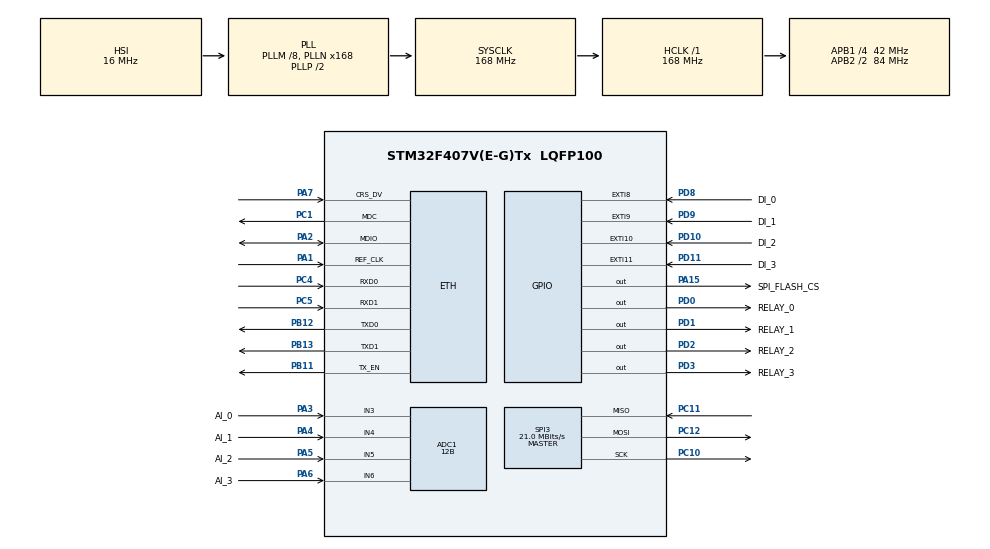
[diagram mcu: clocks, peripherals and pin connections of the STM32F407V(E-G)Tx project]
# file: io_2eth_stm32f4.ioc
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ADC1.Channel-0\#ChannelRegularConversion=ADC_CHANNEL_3
ADC1.Channel-1\#ChannelRegularConversion=ADC_CHANNEL_4
ADC1.Channel-2\#ChannelRegularConversion=ADC_CHANNEL_5
ADC1.Channel-3\#ChannelRegularConversion=ADC_CHANNEL_6
ADC1.ClockPrescaler=ADC_CLOCK_SYNC_PCLK_DIV4
ADC1.ContinuousConvMode=DISABLE
ADC1.DMAContinuousRequests=ENABLE
ADC1.DataAlign=ADC_DATAALIGN_RIGHT
ADC1.DiscontinuousConvMode=DISABLE
ADC1.EOCSelection=ADC_EOC_SINGLE_CONV
ADC1.EnableAnalogWatchDog=false
ADC1.ExternalTrigConv=ADC_SOFTWARE_START
ADC1.ExternalTrigConvEdge=ADC_EXTERNALTRIGCONVEDGE_NONE
ADC1.InjNumberOfConversion=0
ADC1.NbrOfConversion=4
ADC1.NbrOfConversionFlag=1
ADC1.Rank-0\#ChannelRegularConversion=1
ADC1.Rank-1\#ChannelRegularConversion=2
ADC1.Rank-2\#ChannelRegularConversion=3
ADC1.Rank-3\#ChannelRegularConversion=4
ADC1.Resolution=ADC_RESOLUTION_12B
ADC1.SamplingTime-0\#ChannelRegularConversion=ADC_SAMPLETIME_3CYCLES
ADC1.SamplingTime-1\#ChannelRegularConversion=ADC_SAMPLETIME_3CYCLES
ADC1.SamplingTime-2\#ChannelRegularConversion=ADC_SAMPLETIME_3CYCLES
ADC1.SamplingTime-3\#ChannelRegularConversion=ADC_SAMPLETIME_3CYCLES
ADC1.ScanConvMode=ENABLE
ADC1.master=1
Dma.ADC1.2.Direction=DMA_PERIPH_TO_MEMORY
Dma.ADC1.2.FIFOMode=DMA_FIFOMODE_DISABLE
Dma.ADC1.2.Instance=DMA2_Stream0
Dma.ADC1.2.MemDataAlignment=DMA_MDATAALIGN_HALFWORD
Dma.ADC1.2.MemInc=DMA_MINC_ENABLE
Dma.ADC1.2.Mode=DMA_NORMAL
Dma.ADC1.2.PeriphDataAlignment=DMA_PDATAALIGN_HALFWORD
Dma.ADC1.2.PeriphInc=DMA_PINC_DISABLE
Dma.ADC1.2.Priority=DMA_PRIORITY_MEDIUM
Dma.Request0=SPI3_RX
Dma.Request1=SPI3_TX
Dma.Request2=ADC1
Dma.SPI3_RX.0.Direction=DMA_PERIPH_TO_MEMORY
Dma.SPI3_RX.0.FIFOMode=DMA_FIFOMODE_DISABLE
Dma.SPI3_RX.0.Instance=DMA1_Stream0
Dma.SPI3_RX.0.MemDataAlignment=DMA_MDATAALIGN_BYTE
Dma.SPI3_RX.0.MemInc=DMA_MINC_ENABLE
Dma.SPI3_RX.0.Mode=DMA_NORMAL
Dma.SPI3_RX.0.PeriphDataAlignment=DMA_PDATAALIGN_BYTE
Dma.SPI3_RX.0.PeriphInc=DMA_PINC_DISABLE
Dma.SPI3_RX.0.Priority=DMA_PRIORITY_LOW
Dma.SPI3_TX.1.Direction=DMA_MEMORY_TO_PERIPH
Dma.SPI3_TX.1.FIFOMode=DMA_FIFOMODE_DISABLE
Dma.SPI3_TX.1.Instance=DMA1_Stream5
Dma.SPI3_TX.1.MemDataAlignment=DMA_MDATAALIGN_BYTE
Dma.SPI3_TX.1.MemInc=DMA_MINC_ENABLE
Dma.SPI3_TX.1.Mode=DMA_NORMAL
Dma.SPI3_TX.1.PeriphDataAlignment=DMA_PDATAALIGN_BYTE
Dma.SPI3_TX.1.PeriphInc=DMA_PINC_DISABLE
Dma.SPI3_TX.1.Priority=DMA_PRIORITY_LOW
ETH.MACAddr=02\:80\:E1\:83\:05\:24
ETH.MediaInterface=ETH_MEDIA_INTERFACE_RMII
ETH.PhyAddress=3
FREERTOS.HEAP_NUMBER=4
FREERTOS.INCLUDE_xEventGroupSetBitFromISR=1
FREERTOS.INCLUDE_xTimerPendFunctionCall=1
FREERTOS.Mutexes01=AI_DataAccess,Dynamic,NULL;DI_DataAccess,Dynamic,NULL;SpiffsMutex,Dynamic,NULL;SpiFlashChipMutex,Dynamic,NULL;WebServerFileMutex,Dynamic,NULL
FREERTOS.Tasks01=defaultTask,0,512,StartDefaultTask,Default,NULL,Dynamic,NULL,NULL;modbus_tcp,-3,256,start_modbus_tcp_server,As external,NULL,Dynamic,NULL,NULL;ai_monitor,-3,512,start_ai_monitor,As external,NULL,Dynamic,NULL,NULL;di_monitor,-3,512,start_di_monitor,As external,NULL,Dynamic,NULL,NULL;webserver,-3,256,start_webserver,As external,NULL,Dynamic,NULL,NULL
FREERTOS.Timers01=GARP_Timer,send_GARP,osTimerPeriodic,Default,NULL,Dynamic,NULL
FREERTOS.configMINIMAL_STACK_SIZE=256
FREERTOS.configTOTAL_HEAP_SIZE=49152
FREERTOS.configUSE_TIMERS=1
LWIP.API_LIB_DEBUG=LWIP_DBG_OFF
LWIP.API_MSG_DEBUG=LWIP_DBG_OFF
LWIP.DHCP_DEBUG=LWIP_DBG_OFF
LWIP.ETHARP_DEBUG=LWIP_DBG_OFF
LWIP.HTTPD_DEBUG=LWIP_DBG_ON
LWIP.ICMP_DEBUG=LWIP_DBG_OFF
LWIP.IP_DEBUG=LWIP_DBG_OFF
LWIP.LWIP_AUTOIP=0
LWIP.LWIP_DBG_TYPES_ON=LWIP_DBG_ON
LWIP.LWIP_DHCP_AUTOIP_COOP=0
LWIP.LWIP_HTTPD=1
LWIP.LWIP_HTTPD_CUSTOM_FILES=1
LWIP.LWIP_IGMP=1
LWIP.LWIP_MULTICAST_TX_OPTIONS=1
LWIP.LWIP_NETIF_API=0
LWIP.LWIP_NETIF_HOSTNAME=0
LWIP.LWIP_TFTP=1
LWIP.LWIP_USE_EXTERNAL_MBEDTLS=0
LWIP.NETIF_DEBUG=LWIP_DBG_OFF
LWIP.PBUF_DEBUG=LWIP_DBG_OFF
LWIP.SOCKETS_DEBUG=LWIP_DBG_OFF
LWIP.SYS_DEBUG=LWIP_DBG_OFF
LWIP.TCPIP_DEBUG=LWIP_DBG_ON
LWIP.TCP_DEBUG=LWIP_DBG_OFF
LWIP.TFTP_DEBUG=LWIP_DBG_ON
LWIP.Version=v2.0.3_Cube
Mcu.Family=STM32F4
Mcu.Name=STM32F407V(E-G)Tx
Mcu.Package=LQFP100
NVIC.DMA1_Stream0_IRQn=true\:5\:0\:false\:false\:true\:true\:false
NVIC.DMA1_Stream5_IRQn=true\:5\:0\:false\:false\:true\:true\:false
NVIC.DMA2_Stream0_IRQn=true\:5\:0\:false\:false\:true\:true\:false
NVIC.ETH_IRQn=true\:5\:0\:false\:false\:true\:true\:false
NVIC.EXTI15_10_IRQn=true\:12\:0\:true\:false\:true\:true\:true
NVIC.EXTI9_5_IRQn=true\:12\:0\:true\:false\:true\:true\:true
NVIC.PriorityGroup=NVIC_PRIORITYGROUP_4
NVIC.TIM1_UP_TIM10_IRQn=true\:0\:0\:false\:false\:true\:false\:false
NVIC.TimeBase=TIM1_UP_TIM10_IRQn
NVIC.TimeBaseIP=TIM1
PA1.Mode=RMII
PA1.Signal=ETH_REF_CLK
PA13.Mode=Trace_Asynchronous_SW
PA13.Signal=SYS_JTMS-SWDIO
PA14.Mode=Trace_Asynchronous_SW
PA14.Signal=SYS_JTCK-SWCLK
PA15.GPIO_Label=SPI_FLASH_CS
PA15.Signal=GPIO_Output
PA2.Mode=RMII
PA2.Signal=ETH_MDIO
PA3.GPIO_Label=AI_0
PA3.Signal=ADCx_IN3
PA4.GPIO_Label=AI_1
PA4.Signal=ADCx_IN4
PA5.GPIO_Label=AI_2
PA5.Signal=ADCx_IN5
PA6.GPIO_Label=AI_3
PA6.Signal=ADCx_IN6
PA7.Mode=RMII
PA7.Signal=ETH_CRS_DV
PB11.Mode=RMII
PB11.Signal=ETH_TX_EN
PB12.Mode=RMII
PB12.Signal=ETH_TXD0
PB13.Mode=RMII
PB13.Signal=ETH_TXD1
PB3.Mode=Trace_Asynchronous_SW
PB3.Signal=SYS_JTDO-SWO
PC1.Mode=RMII
PC1.Signal=ETH_MDC
PC10.Mode=Full_Duplex_Master
PC10.Signal=SPI3_SCK
PC11.Mode=Full_Duplex_Master
PC11.Signal=SPI3_MISO
PC12.Mode=Full_Duplex_Master
PC12.Signal=SPI3_MOSI
PC4.Mode=RMII
PC4.Signal=ETH_RXD0
PC5.Mode=RMII
PC5.Signal=ETH_RXD1
PD0.GPIO_Label=RELAY_0
PD0.GPIO_PuPd=GPIO_PULLDOWN
PD0.Signal=GPIO_Output
PD1.GPIO_Label=RELAY_1
PD1.GPIO_PuPd=GPIO_PULLDOWN
PD1.Signal=GPIO_Output
PD10.GPIO_Label=DI_2
PD10.GPIO_ModeDefaultEXTI=GPIO_MODE_IT_RISING_FALLING
PD10.Signal=GPXTI10
PD11.GPIO_Label=DI_3
PD11.GPIO_ModeDefaultEXTI=GPIO_MODE_IT_RISING_FALLING
PD11.Signal=GPXTI11
PD2.GPIO_Label=RELAY_2
PD2.GPIO_PuPd=GPIO_PULLDOWN
PD2.Signal=GPIO_Output
PD3.GPIO_Label=RELAY_3
PD3.GPIO_PuPd=GPIO_PULLDOWN
PD3.Signal=GPIO_Output
PD8.GPIO_Label=DI_0
PD8.GPIO_ModeDefaultEXTI=GPIO_MODE_IT_RISING_FALLING
PD8.Signal=GPXTI8
PD9.GPIO_Label=DI_1
PD9.GPIO_ModeDefaultEXTI=GPIO_MODE_IT_RISING_FALLING
PD9.Signal=GPXTI9
ProjectManager.HeapSize=0x4000
ProjectManager.StackSize=0x6000
ProjectManager.TargetToolchain=MDK-ARM V5
RCC.48MHZClocksFreq_Value=48000000
RCC.AHBFreq_Value=168000000
RCC.APB1CLKDivider=RCC_HCLK_DIV4
RCC.APB1Freq_Value=42000000
RCC.APB1TimFreq_Value=84000000
RCC.APB2CLKDivider=RCC_HCLK_DIV2
RCC.APB2Freq_Value=84000000
RCC.APB2TimFreq_Value=168000000
RCC.CortexFreq_Value=168000000
RCC.HCLKFreq_Value=168000000
RCC.HSE_VALUE=16000000
RCC.HSI_VALUE=16000000
RCC.LSE_VALUE=32768
RCC.PLLM=8
RCC.PLLN=168
RCC.PLLQ=7
RCC.SYSCLKFreq_VALUE=168000000
RCC.SYSCLKSource=RCC_SYSCLKSOURCE_PLLCLK
RCC.VCOOutputFreq_Value=336000000
SH.ADCx_IN3.0=ADC1_IN3,IN3
SH.ADCx_IN4.0=ADC1_IN4,IN4
SH.ADCx_IN5.0=ADC1_IN5,IN5
SH.ADCx_IN6.0=ADC1_IN6,IN6
SPI3.BaudRatePrescaler=SPI_BAUDRATEPRESCALER_2
SPI3.CalculateBaudRate=21.0 MBits/s
SPI3.Direction=SPI_DIRECTION_2LINES
SPI3.Mode=SPI_MODE_MASTER
SPI3.VirtualType=VM_MASTER
VP_FREERTOS_VS_ENABLE.Mode=Enabled
VP_LWIP_VS_Enabled.Mode=Enabled
VP_SYS_VS_tim1.Mode=TIM1
VP_TIM7_VS_ClockSourceINT.Mode=Enable_Timer
board=io_2eth_stm32f4

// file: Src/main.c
/**
  ******************************************************************************
  * @file           : main.c
  * @brief          : Main program body
  ******************************************************************************
  * This notice applies to any and all portions of this file
  * that are not between comment pairs USER CODE BEGIN and
  * USER CODE END. Other portions of this file, whether
  * inserted by the user or by software development tools
  * are owned by their respective copyright owners.
  *
  * Copyright (c) 2018 STMicroelectronics International N.V.
  * All rights reserved.
  *
  * Redistribution and use in source and binary forms, with or without
  * modification, are permitted, provided that the following conditions are met:
  *
  * 1. Redistribution of source code must retain the above copyright notice,
  *    this list of conditions and the following disclaimer.
  * 2. Redistributions in binary form must reproduce the above copyright notice,
  *    this list of conditions and the following disclaimer in the documentation
  *    and/or other materials provided with the distribution.
  * 3. Neither the name of STMicroelectronics nor the names of other
  *    contributors to this software may be used to endorse or promote products
  *    derived from this software without specific written permission.
  * 4. This software, including modifications and/or derivative works of this
  *    software, must execute solely and exclusively on microcontroller or
  *    microprocessor devices manufactured by or for STMicroelectronics.
  * 5. Redistribution and use of this software other than as permitted under
  *    this license is void and will automatically terminate your rights under
  *    this license.
  *
  * THIS SOFTWARE IS PROVIDED BY STMICROELECTRONICS AND CONTRIBUTORS "AS IS"
  * AND ANY EXPRESS, IMPLIED OR STATUTORY WARRANTIES, INCLUDING, BUT NOT
  * LIMITED TO, THE IMPLIED WARRANTIES OF MERCHANTABILITY, FITNESS FOR A
  * PARTICULAR PURPOSE AND NON-INFRINGEMENT OF THIRD PARTY INTELLECTUAL PROPERTY
  * RIGHTS ARE DISCLAIMED TO THE FULLEST EXTENT PERMITTED BY LAW. IN NO EVENT
  * SHALL STMICROELECTRONICS OR CONTRIBUTORS BE LIABLE FOR ANY DIRECT, INDIRECT,
  * INCIDENTAL, SPECIAL, EXEMPLARY, OR CONSEQUENTIAL DAMAGES (INCLUDING, BUT NOT
  * LIMITED TO, PROCUREMENT OF SUBSTITUTE GOODS OR SERVICES; LOSS OF USE, DATA,
  * OR PROFITS; OR BUSINESS INTERRUPTION) HOWEVER CAUSED AND ON ANY THEORY OF
  * LIABILITY, WHETHER IN CONTRACT, STRICT LIABILITY, OR TORT (INCLUDING
  * NEGLIGENCE OR OTHERWISE) ARISING IN ANY WAY OUT OF THE USE OF THIS SOFTWARE,
  * EVEN IF ADVISED OF THE POSSIBILITY OF SUCH DAMAGE.
  *
  ******************************************************************************
  */
#include "main.h"
#include "stm32f4xx_hal.h"
#include "cmsis_os.h"
#include "lwip.h"

/* USER CODE BEGIN Includes */
#include "spi_flash.h"
#include "spiffs.h"
#include "lwip/apps/tftp_server.h"
#include "di_monitor.h"
#include "utility.h"

/* USER CODE END Includes */

ADC_HandleTypeDef hadc1;
DMA_HandleTypeDef hdma_adc1;

SPI_HandleTypeDef hspi3;
DMA_HandleTypeDef hdma_spi3_rx;
DMA_HandleTypeDef hdma_spi3_tx;

TIM_HandleTypeDef htim7;

osThreadId defaultTaskHandle;
osThreadId modbus_tcpHandle;
osThreadId ai_monitorHandle;
osThreadId di_monitorHandle;
osThreadId webserverHandle;
osTimerId GARP_TimerHandle;
osMutexId AI_DataAccessHandle;
osMutexId DI_DataAccessHandle;
osMutexId SpiffsMutexHandle;
osMutexId SpiFlashChipMutexHandle;
osMutexId WebServerFileMutexHandle;

/* USER CODE BEGIN PV */
/* Private variables ---------------------------------------------------------*/
EventGroupHandle_t xDiEventGroup;
EventGroupHandle_t xComEventGroup;

extern struct netif gnetif;
extern spiffs SPI_FFS_fs;
extern const struct tftp_context TFTP_Ctx;
/* USER CODE END PV */

void SystemClock_Config(void);
static void MX_GPIO_Init(void);
static void MX_DMA_Init(void);
static void MX_ADC1_Init(void);
static void MX_TIM7_Init(void);
static void MX_SPI3_Init(void);
void StartDefaultTask(void const * argument);
extern void start_modbus_tcp_server(void const * argument);
extern void start_ai_monitor(void const * argument);
extern void start_di_monitor(void const * argument);
extern void start_webserver(void const * argument);
void send_GARP(void const * argument);

/* USER CODE BEGIN PFP */
/* Private function prototypes -----------------------------------------------*/
extern void UTL_start_udp_broadcast(void const * argument);
/* USER CODE END PFP */

/* USER CODE BEGIN 0 */
//static void send_GARP(void const * argument) {
////	printf("send GARP timer enter\n");
//	etharp_gratuitous(&gnetif);
////	printf("send GARP timer leave\n");
//}

/* USER CODE END 0 */

int main(void)
{

  /* MCU Configuration----------------------------------------------------------*/

  /* Reset of all peripherals, Initializes the Flash interface and the Systick. */
  HAL_Init();

  /* Configure the system clock */
  SystemClock_Config();

  /* Initialize all configured peripherals */
  MX_GPIO_Init();
  MX_DMA_Init();
  MX_ADC1_Init();
  MX_TIM7_Init();
  MX_SPI3_Init();

  /* Create the mutex(es) */
  /* definition and creation of AI_DataAccess */
  osMutexDef(AI_DataAccess);
  AI_DataAccessHandle = osMutexCreate(osMutex(AI_DataAccess));

  /* definition and creation of DI_DataAccess */
  osMutexDef(DI_DataAccess);
  DI_DataAccessHandle = osMutexCreate(osMutex(DI_DataAccess));

  /* definition and creation of SpiffsMutex */
  osMutexDef(SpiffsMutex);
  SpiffsMutexHandle = osMutexCreate(osMutex(SpiffsMutex));

  /* definition and creation of SpiFlashChipMutex */
  osMutexDef(SpiFlashChipMutex);
  SpiFlashChipMutexHandle = osMutexCreate(osMutex(SpiFlashChipMutex));

  /* definition and creation of WebServerFileMutex */
  osMutexDef(WebServerFileMutex);
  WebServerFileMutexHandle = osMutexCreate(osMutex(WebServerFileMutex));

  /* USER CODE BEGIN RTOS_MUTEX */
  /* add mutexes, ... */
  xDiEventGroup = xEventGroupCreate();
  if( xDiEventGroup == NULL ) {
    printf("DI event group create failed.\n");
  }
  xComEventGroup = xEventGroupCreate();
  if( xComEventGroup == NULL ) {
    printf("Communication event group create failed.\n");
  }

  /* USER CODE END RTOS_MUTEX */

  /* Create the timer(s) */
  /* definition and creation of GARP_Timer */
  osTimerDef(GARP_Timer, send_GARP);
  GARP_TimerHandle = osTimerCreate(osTimer(GARP_Timer), osTimerPeriodic, NULL);

  /* Create the thread(s) */
  /* definition and creation of defaultTask */
  osThreadDef(defaultTask, StartDefaultTask, osPriorityNormal, 0, 512);
  defaultTaskHandle = osThreadCreate(osThread(defaultTask), NULL);

  /* definition and creation of modbus_tcp */
  osThreadDef(modbus_tcp, start_modbus_tcp_server, osPriorityIdle, 0, 256);
  modbus_tcpHandle = osThreadCreate(osThread(modbus_tcp), NULL);

  /* definition and creation of ai_monitor */
  osThreadDef(ai_monitor, start_ai_monitor, osPriorityIdle, 0, 512);
  ai_monitorHandle = osThreadCreate(osThread(ai_monitor), NULL);

  /* definition and creation of di_monitor */
  osThreadDef(di_monitor, start_di_monitor, osPriorityIdle, 0, 512);
  di_monitorHandle = osThreadCreate(osThread(di_monitor), NULL);

  /* definition and creation of webserver */
  osThreadDef(webserver, start_webserver, osPriorityIdle, 0, 256);
  webserverHandle = osThreadCreate(osThread(webserver), NULL);

  /* USER CODE BEGIN RTOS_THREADS */
  /* add threads, ... */
  osThreadDef(udp_discovery, UTL_start_udp_broadcast, osPriorityIdle, 0, 256);
  webserverHandle = osThreadCreate(osThread(udp_discovery), NULL);
  /* USER CODE END RTOS_THREADS */

  /* Start scheduler */
  osKernelStart();

  /* We should never get here as control is now taken by the scheduler */

  /* Infinite loop */
  while (1)
  {

  }

}

void SystemClock_Config(void)
{

  RCC_OscInitTypeDef RCC_OscInitStruct;
  RCC_ClkInitTypeDef RCC_ClkInitStruct;

    /**Configure the main internal regulator output voltage
    */
  __HAL_RCC_PWR_CLK_ENABLE();

  __HAL_PWR_VOLTAGESCALING_CONFIG(PWR_REGULATOR_VOLTAGE_SCALE1);

    /**Initializes the CPU, AHB and APB busses clocks
    */
  RCC_OscInitStruct.OscillatorType = RCC_OSCILLATORTYPE_HSI;
  RCC_OscInitStruct.HSIState = RCC_HSI_ON;
  RCC_OscInitStruct.HSICalibrationValue = 16;
  RCC_OscInitStruct.PLL.PLLState = RCC_PLL_ON;
  RCC_OscInitStruct.PLL.PLLSource = RCC_PLLSOURCE_HSI;
  RCC_OscInitStruct.PLL.PLLM = 8;
  RCC_OscInitStruct.PLL.PLLN = 168;
  RCC_OscInitStruct.PLL.PLLP = RCC_PLLP_DIV2;
  RCC_OscInitStruct.PLL.PLLQ = 7;
  if (HAL_RCC_OscConfig(&RCC_OscInitStruct) != HAL_OK)
  {
    _Error_Handler(__FILE__, __LINE__);
  }

    /**Initializes the CPU, AHB and APB busses clocks
    */
  RCC_ClkInitStruct.ClockType = RCC_CLOCKTYPE_HCLK|RCC_CLOCKTYPE_SYSCLK
                              |RCC_CLOCKTYPE_PCLK1|RCC_CLOCKTYPE_PCLK2;
  RCC_ClkInitStruct.SYSCLKSource = RCC_SYSCLKSOURCE_PLLCLK;
  RCC_ClkInitStruct.AHBCLKDivider = RCC_SYSCLK_DIV1;
  RCC_ClkInitStruct.APB1CLKDivider = RCC_HCLK_DIV4;
  RCC_ClkInitStruct.APB2CLKDivider = RCC_HCLK_DIV2;

  if (HAL_RCC_ClockConfig(&RCC_ClkInitStruct, FLASH_LATENCY_5) != HAL_OK)
  {
    _Error_Handler(__FILE__, __LINE__);
  }

    /**Configure the Systick interrupt time
    */
  HAL_SYSTICK_Config(HAL_RCC_GetHCLKFreq()/1000);

    /**Configure the Systick
    */
  HAL_SYSTICK_CLKSourceConfig(SYSTICK_CLKSOURCE_HCLK);

  /* SysTick_IRQn interrupt configuration */
  HAL_NVIC_SetPriority(SysTick_IRQn, 15, 0);
}

/* ADC1 init function */
static void MX_ADC1_Init(void)
{

  ADC_ChannelConfTypeDef sConfig;

    /**Configure the global features of the ADC (Clock, Resolution, Data Alignment and number of conversion)
    */
  hadc1.Instance = ADC1;
  hadc1.Init.ClockPrescaler = ADC_CLOCK_SYNC_PCLK_DIV4;
  hadc1.Init.Resolution = ADC_RESOLUTION_12B;
  hadc1.Init.ScanConvMode = ENABLE;
  hadc1.Init.ContinuousConvMode = DISABLE;
  hadc1.Init.DiscontinuousConvMode = DISABLE;
  hadc1.Init.ExternalTrigConvEdge = ADC_EXTERNALTRIGCONVEDGE_NONE;
  hadc1.Init.ExternalTrigConv = ADC_SOFTWARE_START;
  hadc1.Init.DataAlign = ADC_DATAALIGN_RIGHT;
  hadc1.Init.NbrOfConversion = 4;
  hadc1.Init.DMAContinuousRequests = ENABLE;
  hadc1.Init.EOCSelection = ADC_EOC_SINGLE_CONV;
  if (HAL_ADC_Init(&hadc1) != HAL_OK)
  {
    _Error_Handler(__FILE__, __LINE__);
  }

    /**Configure for the selected ADC regular channel its corresponding rank in the sequencer and its sample time.
    */
  sConfig.Channel = ADC_CHANNEL_3;
  sConfig.Rank = 1;
  sConfig.SamplingTime = ADC_SAMPLETIME_3CYCLES;
  if (HAL_ADC_ConfigChannel(&hadc1, &sConfig) != HAL_OK)
  {
    _Error_Handler(__FILE__, __LINE__);
  }

    /**Configure for the selected ADC regular channel its corresponding rank in the sequencer and its sample time.
    */
  sConfig.Channel = ADC_CHANNEL_4;
  sConfig.Rank = 2;
  if (HAL_ADC_ConfigChannel(&hadc1, &sConfig) != HAL_OK)
  {
    _Error_Handler(__FILE__, __LINE__);
  }

    /**Configure for the selected ADC regular channel its corresponding rank in the sequencer and its sample time.
    */
  sConfig.Channel = ADC_CHANNEL_5;
  sConfig.Rank = 3;
  if (HAL_ADC_ConfigChannel(&hadc1, &sConfig) != HAL_OK)
  {
    _Error_Handler(__FILE__, __LINE__);
  }

    /**Configure for the selected ADC regular channel its corresponding rank in the sequencer and its sample time.
    */
  sConfig.Channel = ADC_CHANNEL_6;
  sConfig.Rank = 4;
  if (HAL_ADC_ConfigChannel(&hadc1, &sConfig) != HAL_OK)
  {
    _Error_Handler(__FILE__, __LINE__);
  }

}

/* SPI3 init function */
static void MX_SPI3_Init(void)
{

  /* SPI3 parameter configuration*/
  hspi3.Instance = SPI3;
  hspi3.Init.Mode = SPI_MODE_MASTER;
  hspi3.Init.Direction = SPI_DIRECTION_2LINES;
  hspi3.Init.DataSize = SPI_DATASIZE_8BIT;
  hspi3.Init.CLKPolarity = SPI_POLARITY_LOW;
  hspi3.Init.CLKPhase = SPI_PHASE_1EDGE;
  hspi3.Init.NSS = SPI_NSS_SOFT;
  hspi3.Init.BaudRatePrescaler = SPI_BAUDRATEPRESCALER_2;
  hspi3.Init.FirstBit = SPI_FIRSTBIT_MSB;
  hspi3.Init.TIMode = SPI_TIMODE_DISABLE;
  hspi3.Init.CRCCalculation = SPI_CRCCALCULATION_DISABLE;
  hspi3.Init.CRCPolynomial = 10;
  if (HAL_SPI_Init(&hspi3) != HAL_OK)
  {
    _Error_Handler(__FILE__, __LINE__);
  }

}

/* TIM7 init function */
static void MX_TIM7_Init(void)
{

  TIM_MasterConfigTypeDef sMasterConfig;

  htim7.Instance = TIM7;
  htim7.Init.Prescaler = 0;
  htim7.Init.CounterMode = TIM_COUNTERMODE_UP;
  htim7.Init.Period = 0;
  if (HAL_TIM_Base_Init(&htim7) != HAL_OK)
  {
    _Error_Handler(__FILE__, __LINE__);
  }

  sMasterConfig.MasterOutputTrigger = TIM_TRGO_RESET;
  sMasterConfig.MasterSlaveMode = TIM_MASTERSLAVEMODE_DISABLE;
  if (HAL_TIMEx_MasterConfigSynchronization(&htim7, &sMasterConfig) != HAL_OK)
  {
    _Error_Handler(__FILE__, __LINE__);
  }

}

static void MX_DMA_Init(void)
{
  /* DMA controller clock enable */
  __HAL_RCC_DMA1_CLK_ENABLE();
  __HAL_RCC_DMA2_CLK_ENABLE();

  /* DMA interrupt init */
  /* DMA1_Stream0_IRQn interrupt configuration */
  HAL_NVIC_SetPriority(DMA1_Stream0_IRQn, 5, 0);
  HAL_NVIC_EnableIRQ(DMA1_Stream0_IRQn);
  /* DMA1_Stream5_IRQn interrupt configuration */
  HAL_NVIC_SetPriority(DMA1_Stream5_IRQn, 5, 0);
  HAL_NVIC_EnableIRQ(DMA1_Stream5_IRQn);
  /* DMA2_Stream0_IRQn interrupt configuration */
  HAL_NVIC_SetPriority(DMA2_Stream0_IRQn, 5, 0);
  HAL_NVIC_EnableIRQ(DMA2_Stream0_IRQn);

}

/** Configure pins as
        * Analog
        * Input
        * Output
        * EVENT_OUT
        * EXTI
*/
static void MX_GPIO_Init(void)
{

  GPIO_InitTypeDef GPIO_InitStruct;

  /* GPIO Ports Clock Enable */
  __HAL_RCC_GPIOC_CLK_ENABLE();
  __HAL_RCC_GPIOA_CLK_ENABLE();
  __HAL_RCC_GPIOB_CLK_ENABLE();
  __HAL_RCC_GPIOD_CLK_ENABLE();

  /*Configure GPIO pin Output Level */
  HAL_GPIO_WritePin(SPI_FLASH_CS_GPIO_Port, SPI_FLASH_CS_Pin, GPIO_PIN_RESET);

  /*Configure GPIO pin Output Level */
  HAL_GPIO_WritePin(GPIOD, RELAY_0_Pin|RELAY_1_Pin|RELAY_2_Pin|RELAY_3_Pin, GPIO_PIN_RESET);

  /*Configure GPIO pins : DI_0_Pin DI_1_Pin DI_2_Pin DI_3_Pin */
  GPIO_InitStruct.Pin = DI_0_Pin|DI_1_Pin|DI_2_Pin|DI_3_Pin;
  GPIO_InitStruct.Mode = GPIO_MODE_IT_RISING_FALLING;
  GPIO_InitStruct.Pull = GPIO_NOPULL;
  HAL_GPIO_Init(GPIOD, &GPIO_InitStruct);

  /*Configure GPIO pin : SPI_FLASH_CS_Pin */
  GPIO_InitStruct.Pin = SPI_FLASH_CS_Pin;
  GPIO_InitStruct.Mode = GPIO_MODE_OUTPUT_PP;
  GPIO_InitStruct.Pull = GPIO_NOPULL;
  GPIO_InitStruct.Speed = GPIO_SPEED_FREQ_LOW;
  HAL_GPIO_Init(SPI_FLASH_CS_GPIO_Port, &GPIO_InitStruct);

  /*Configure GPIO pins : RELAY_0_Pin RELAY_1_Pin RELAY_2_Pin RELAY_3_Pin */
  GPIO_InitStruct.Pin = RELAY_0_Pin|RELAY_1_Pin|RELAY_2_Pin|RELAY_3_Pin;
  GPIO_InitStruct.Mode = GPIO_MODE_OUTPUT_PP;
  GPIO_InitStruct.Pull = GPIO_PULLDOWN;
  GPIO_InitStruct.Speed = GPIO_SPEED_FREQ_LOW;
  HAL_GPIO_Init(GPIOD, &GPIO_InitStruct);

  /* EXTI interrupt init*/
  HAL_NVIC_SetPriority(EXTI9_5_IRQn, 12, 0);
  HAL_NVIC_EnableIRQ(EXTI9_5_IRQn);

  HAL_NVIC_SetPriority(EXTI15_10_IRQn, 12, 0);
  HAL_NVIC_EnableIRQ(EXTI15_10_IRQn);

}

void StartDefaultTask(void const * argument)
{
	printf("Main app default task start.\n");
	spiffs_init();
	UTL_sh_z_002_info_init();
	UTL_sh_z_002_eth_conf_init();

  /* init code for LWIP */
  MX_LWIP_Init();

  /* USER CODE BEGIN 5 */
	osTimerStart(GARP_TimerHandle, 5000);
	xEventGroupSetBits(xComEventGroup, EG_ETH_NETIF_UP_BIT );
	tftp_init(&TFTP_Ctx);
  /* Infinite loop */
  for(;;)
  {
    osDelay(5000);
  }
  /* USER CODE END 5 */
}

/* send_GARP function */
void send_GARP(void const * argument)
{
  /* USER CODE BEGIN send_GARP */
  etharp_gratuitous(&gnetif);
  /* USER CODE END send_GARP */
}

void HAL_TIM_PeriodElapsedCallback(TIM_HandleTypeDef *htim)
{
  if (htim->Instance == TIM1) {
    HAL_IncTick();
  }
}

void _Error_Handler(char *file, int line)
{
  while(1)
  {
  }
}

/************************ (C) COPYRIGHT STMicroelectronics *****END OF FILE****/
